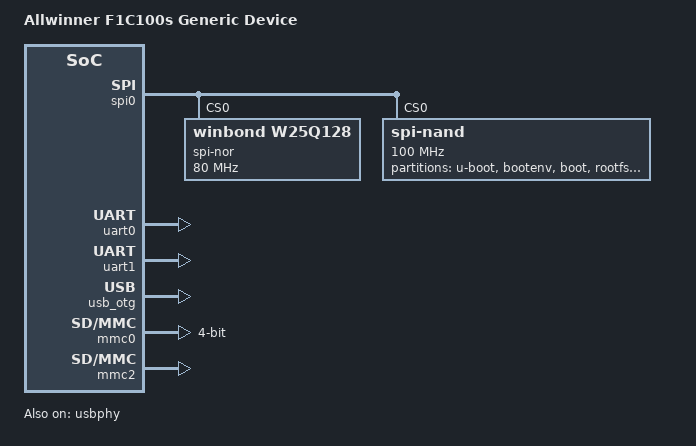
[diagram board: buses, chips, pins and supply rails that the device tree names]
// SPDX-License-Identifier: (GPL-2.0+ OR X11)

/dts-v1/;
#include "suniv-f1c100s.dtsi"

#include <dt-bindings/gpio/gpio.h>

/ {
	model = "Allwinner F1C100s Generic Device";
	compatible = "allwinner,suniv-f1c100s",
		     "allwinner,suniv";

	aliases {
		serial0 = &uart0;
		spi0 = &spi0;
	};

	chosen {
		stdout-path = "serial0:115200n8";
	};
};

&otg_sram {
	status = "okay";
};

&spi0 {
	pinctrl-names = "default";
	pinctrl-0 = <&spi0_pins_a>;
	status = "okay";

	spi-nor@0 {
		#address-cells = <1>;
		#size-cells = <1>;
		reg = <0>;
		compatible = "winbond,w25q128", "jedec,spi-nor";
		spi-max-frequency = <80000000>;
	};

	spi-nand@1 {
		#address-cells = <1>;
		#size-cells = <1>;
		reg = <0>;
		compatible = "spi-nand";
		/*
		 * The CDR2 divider off the 200MHz AHB only yields 100/50/33MHz,
		 * so anything under 100 lands on 50. W25N01GV is good to 104.
		 */
		spi-max-frequency = <100000000>;

		partitions {
			compatible = "fixed-partitions";
			#address-cells = <1>;
			#size-cells = <1>;

			partition@0 {
				label = "u-boot";
				reg = <0x000000 0x0e0000>;
				read-only;
			};

			partition@e0000 {
				label = "bootenv";
				reg = <0x0e0000 0x020000>;
			};

			partition@100000 {
				label = "boot";
				reg = <0x100000 0x600000>;
			};

			/*
			 * 与 linux 侧 epass_common.dtsi 保持一致:
			 * rootfs(系统) + data(overlay upper) 两个分区,
			 * DFU "rootfs partubi 4" 只重写系统, 刷机保数据
			 */
			partition@700000 {
				label = "rootfs";
				reg = <0x700000 0x1c00000>;
			};

			partition@2300000 {
				label = "data";
				reg = <0x2300000 0x5d00000>;
			};
		};
	};
};

&uart0 {
	pinctrl-names = "default";
	pinctrl-0 = <&uart0_pins_a>;
	status = "okay";
};

&uart1 {
	pinctrl-names = "default";
	pinctrl-0 = <&uart1_pins_a>;
	status = "okay";
};

&usb_otg {
	status = "okay";
};

&usbphy {
	status = "okay";
};

&mmc0 {
	status = "okay";
	bus-width = <4>;
};

&mmc2 {
	status = "okay";
};
